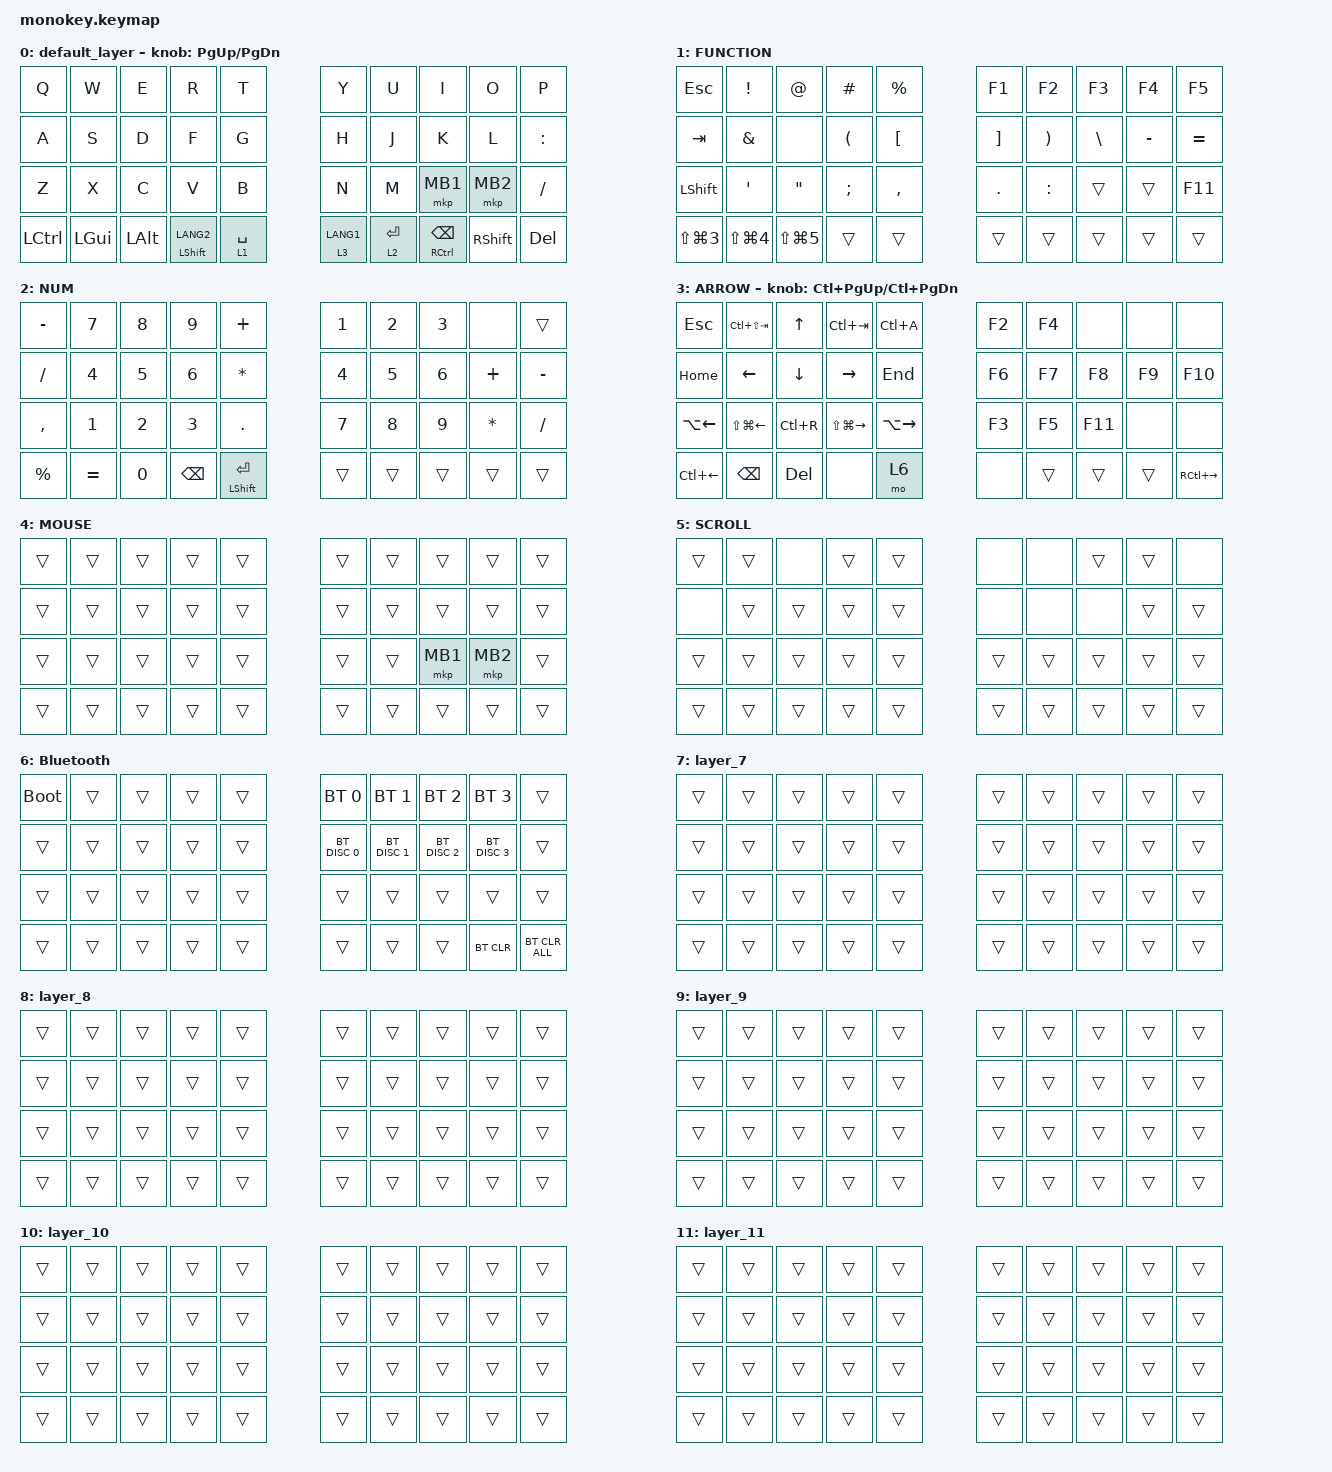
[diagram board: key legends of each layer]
#include <behaviors.dtsi>
#include <dt-bindings/zmk/bt.h>
#include <dt-bindings/zmk/keys.h>
#include <dt-bindings/zmk/pointing.h>

#define MOUSE 4
#define SCROLL 5
#define NUM 6

&mt {
    flavor = "balanced";
    quick-tap-ms = <300>;
};

&lt { quick-tap-ms = <300>; };

/ {
    combos {
        compatible = "zmk,combos";

        scroll {
            bindings = <&mo 5>;
            key-positions = <27 28>;
        };
    };

    behaviors {
        right_click: right_click_behavior {
            compatible = "zmk,behavior-mouse-key";
            label = "RIGHT_CLICK";
            #binding-cells = <0>;

            // 右クリックは通常 MB2 に対応（ZMKの標準定義）

            bindings = <&mkp MB2>;
        };
    };

    keymap {
        compatible = "zmk,keymap";

        default_layer {
            bindings = <
&kp Q             &kp W         &kp E         &kp R                 &kp T                                  &kp Y                        &kp U  &kp I     &kp O            &kp P
&kp A             &kp S         &kp D         &kp F                 &kp G                                  &kp H                        &kp J  &kp K     &kp L            &kp COLON
&kp Z             &kp X         &kp C         &kp V                 &kp B                                  &kp N                        &kp M  &mkp MB1  &mkp MB2         &kp SLASH
&kp LEFT_CONTROL  &kp LEFT_GUI  &kp LEFT_ALT  &mt LEFT_SHIFT LANG2  &lt 1 SPACE  &lt 3 LANG1  &lt 2 ENTER  &mt RIGHT_CONTROL BACKSPACE                   &kp RIGHT_SHIFT  &kp DEL
            >;

            sensor-bindings = <&inc_dec_kp PG_UP PAGE_DOWN>;
        };

        FUNCTION {
            bindings = <
&kp ESCAPE            &kp EXCL              &kp AT             &kp HASH              &kp PERCENT                       &kp F1             &kp F2                 &kp F3         &kp F4     &kp F5
&kp TAB               &kp AMPS              &none              &kp LEFT_PARENTHESIS  &kp LEFT_BRACKET                  &kp RIGHT_BRACKET  &kp RIGHT_PARENTHESIS  &kp BACKSLASH  &kp MINUS  &kp EQUAL
&kp LEFT_SHIFT        &kp SINGLE_QUOTE      &kp DOUBLE_QUOTES  &kp SEMI              &kp COMMA                         &kp PERIOD         &kp COLON              &trans         &trans     &kp F11
&kp LS(LG(NUMBER_3))  &kp LS(LG(NUMBER_4))  &kp LS(LG(N5))     &trans                &trans            &trans  &trans  &trans                                                   &trans     &trans
            >;
        };

        NUM {
            bindings = <
&kp MINUS    &kp N7     &kp N8  &kp N9         &kp PLUS                              &kp NUMBER_1  &kp NUMBER_2  &kp NUMBER_3  &none         &trans
&kp SLASH    &kp N4     &kp N5  &kp N6         &kp STAR                              &kp NUMBER_4  &kp N5        &kp NUMBER_6  &kp PLUS      &kp MINUS
&kp COMMA    &kp N1     &kp N2  &kp N3         &kp PERIOD                            &kp N7        &kp N8        &kp N9        &kp ASTERISK  &kp SLASH
&kp PERCENT  &kp EQUAL  &kp N0  &kp BACKSPACE  &mt LEFT_SHIFT ENTER  &trans  &trans  &trans                                    &trans        &trans
            >;
        };

        ARROW {
            bindings = <
&kp ESCAPE          &kp LC(LS(TAB))         &kp UP_ARROW    &kp LC(TAB)              &kp LC(A)                           &kp F2  &kp F4  &none    &none   &none
&kp HOME            &kp LEFT_ARROW          &kp DOWN_ARROW  &kp RIGHT                &kp END                             &kp F6  &kp F7  &kp F8   &kp F9  &kp F10
&kp LA(LEFT_ARROW)  &kp LS(LG(LEFT_ARROW))  &kp LC(R)       &kp LS(LG(RIGHT_ARROW))  &kp LA(RIGHT_ARROW)                 &kp F3  &kp F5  &kp F11  &none   &none
&kp LC(LEFT_ARROW)  &kp BACKSPACE           &kp DEL         &none                    &mo 6                &none  &trans  &trans                   &trans  &kp RC(RIGHT_ARROW)
            >;

            sensor-bindings = <&inc_dec_kp LC(PAGE_UP) LC(PAGE_DOWN)>;
        };

        MOUSE {
            bindings = <
&trans  &trans  &trans  &trans  &trans                  &trans  &trans  &trans    &trans    &trans
&trans  &trans  &trans  &trans  &trans                  &trans  &trans  &trans    &trans    &trans
&trans  &trans  &trans  &trans  &trans                  &trans  &trans  &mkp MB1  &mkp MB2  &trans
&trans  &trans  &trans  &trans  &trans  &trans  &trans  &trans                    &trans    &trans
            >;
        };

        SCROLL {
            bindings = <
&trans  &trans  &none   &trans  &trans                  &none   &none   &trans  &trans  &none
&none   &trans  &trans  &trans  &trans                  &none   &none   &none   &trans  &trans
&trans  &trans  &trans  &trans  &trans                  &trans  &trans  &trans  &trans  &trans
&trans  &trans  &trans  &trans  &trans  &trans  &trans  &trans                  &trans  &trans
            >;
        };

        Bluetooth {
            bindings = <
&bootloader  &trans  &trans  &trans  &trans                  &bt BT_SEL 0   &bt BT_SEL 1   &bt BT_SEL 2   &bt BT_SEL 3   &trans
&trans       &trans  &trans  &trans  &trans                  &bt BT_DISC 0  &bt BT_DISC 1  &bt BT_DISC 2  &bt BT_DISC 3  &trans
&trans       &trans  &trans  &trans  &trans                  &trans         &trans         &trans         &trans         &trans
&trans       &trans  &trans  &trans  &trans  &trans  &trans  &trans                                       &bt BT_CLR     &bt BT_CLR_ALL
            >;
        };

        layer_7 {
            bindings = <
&trans  &trans  &trans  &trans  &trans                  &trans  &trans  &trans  &trans  &trans
&trans  &trans  &trans  &trans  &trans                  &trans  &trans  &trans  &trans  &trans
&trans  &trans  &trans  &trans  &trans                  &trans  &trans  &trans  &trans  &trans
&trans  &trans  &trans  &trans  &trans  &trans  &trans  &trans                  &trans  &trans
            >;
        };

        layer_8 {
            bindings = <
&trans  &trans  &trans  &trans  &trans                  &trans  &trans  &trans  &trans  &trans
&trans  &trans  &trans  &trans  &trans                  &trans  &trans  &trans  &trans  &trans
&trans  &trans  &trans  &trans  &trans                  &trans  &trans  &trans  &trans  &trans
&trans  &trans  &trans  &trans  &trans  &trans  &trans  &trans                  &trans  &trans
            >;
        };

        layer_9 {
            bindings = <
&trans  &trans  &trans  &trans  &trans                  &trans  &trans  &trans  &trans  &trans
&trans  &trans  &trans  &trans  &trans                  &trans  &trans  &trans  &trans  &trans
&trans  &trans  &trans  &trans  &trans                  &trans  &trans  &trans  &trans  &trans
&trans  &trans  &trans  &trans  &trans  &trans  &trans  &trans                  &trans  &trans
            >;
        };

        layer_10 {
            bindings = <
&trans  &trans  &trans  &trans  &trans                  &trans  &trans  &trans  &trans  &trans
&trans  &trans  &trans  &trans  &trans                  &trans  &trans  &trans  &trans  &trans
&trans  &trans  &trans  &trans  &trans                  &trans  &trans  &trans  &trans  &trans
&trans  &trans  &trans  &trans  &trans  &trans  &trans  &trans                  &trans  &trans
            >;
        };

        layer_11 {
            bindings = <
&trans  &trans  &trans  &trans  &trans                  &trans  &trans  &trans  &trans  &trans
&trans  &trans  &trans  &trans  &trans                  &trans  &trans  &trans  &trans  &trans
&trans  &trans  &trans  &trans  &trans                  &trans  &trans  &trans  &trans  &trans
&trans  &trans  &trans  &trans  &trans  &trans  &trans  &trans                  &trans  &trans
            >;
        };
    };
};
